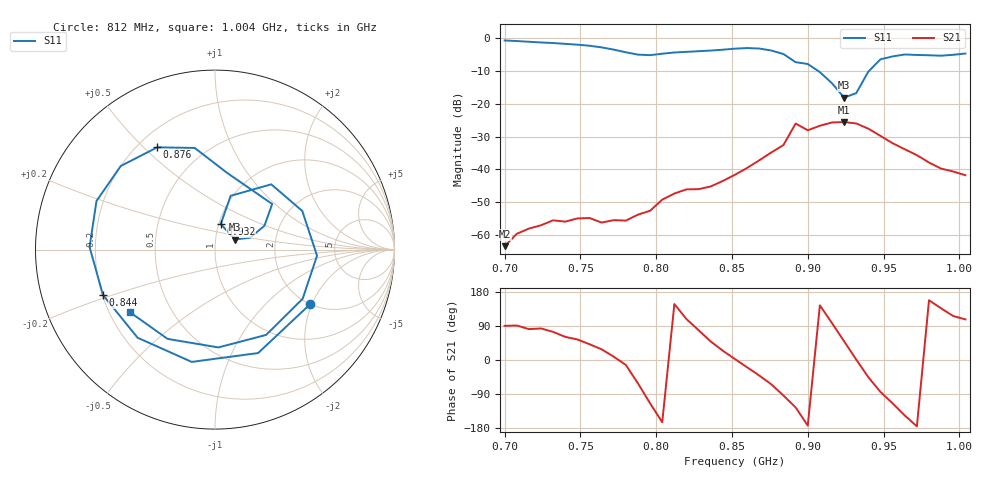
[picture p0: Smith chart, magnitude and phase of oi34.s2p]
# Hz S RI R 50
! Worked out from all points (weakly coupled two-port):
!   39 points, 700 MHz to 1.004 GHz, reference 50 ohm
!   highest |S21| = -25.57 dB at 924 MHz (marker M1); lowest = -63.5 dB at 700 MHz (marker M2)
!   lowest |S11| = -18.1 dB at 924 MHz (marker M3), VSWR 1.28, Z = 62.1 + j7.09 ohm
!   |S11| at or under -10 dB: 907.1 MHz to 940.2 MHz (33.18 MHz wide, 3.59 % of centre)
!   S12 and S22 are empty: the file has one direction only
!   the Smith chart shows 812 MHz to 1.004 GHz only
!   S11 on the Smith chart (normalised r, x): 812 MHz: 1.99, -1.94; 844 MHz: 0.20, -0.19; 876 MHz: 0.28, +0.55; 932 MHz: 1.02, +0.30; 1.004 GHz: 0.28, -0.30
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7e8  0.7651 0.5338  -1.61e-06 0.000667  0 0  0 0
7.24e8  0.8296 -0.2601  0.000164 0.00138  0 0  0 0
7.4e8  0.4436 -0.6993  0.000764 0.00138  0 0  0 0
7.56e8  -0.1969 -0.7494  0.00134 0.0012  0 0  0 0
7.72e8  -0.6496 -0.1862  0.00165 0.000256  0 0  0 0
7.8e8  -0.57 0.2305  0.0016 -0.000372  0 0  0 0
7.88e8  -0.2157 0.524  0.000957 -0.00178  0 0  0 0
7.96e8  0.2591 0.4918  -0.000961 -0.00211  0 0  0 0
8.04e8  0.5686 0.1386  -0.0033 -0.000934  0 0  0 0
8.12e8  0.5289 -0.3054  -0.00359 0.00227  0 0  0 0
8.28e8  -0.1297 -0.6257  0.000979 0.00487  0 0  0 0
8.44e8  -0.6241 -0.2532  0.00604 0.00274  0 0  0 0
8.52e8  -0.6989 0.0145  0.00823 0.000339  0 0  0 0
8.76e8  -0.3218 0.5698  0.00785 -0.0163  0 0  0 0
8.92e8  0.0654 0.4288  -0.0288 -0.0409  0 0  0 0
9.08e8  0.2754 0.1329  -0.0375 0.027  0 0  0 0
9.24e8  0.1112 0.0563  0.0343 0.0399  0 0  0 0
9.32e8  0.0321 0.1424  0.0502 0.000927  0 0  0 0
9.48e8  0.3137 0.3636  0.00318 -0.0322  0 0  0 0
9.56e8  0.4864 0.2152  -0.0103 -0.0228  0 0  0 0
9.8e8  0.2849 -0.4753  -0.0117 0.00481  0 0  0 0
1.004e9  -0.4743 -0.3485  -0.00239 0.00774  0 0  0 0
